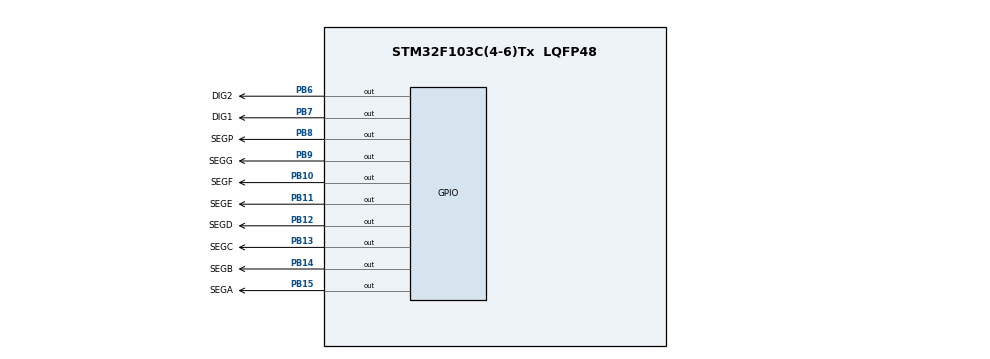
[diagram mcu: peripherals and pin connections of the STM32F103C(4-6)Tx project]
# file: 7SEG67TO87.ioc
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Mcu.Family=STM32F1
Mcu.Name=STM32F103C(4-6)Tx
Mcu.Package=LQFP48
NVIC.PriorityGroup=NVIC_PRIORITYGROUP_4
NVIC.TIM1_UP_IRQn=true\:0\:0\:false\:false\:true\:true\:true
NVIC.TIM2_IRQn=true\:0\:0\:false\:false\:true\:true\:true
PB10.GPIO_Label=SEGF
PB10.Signal=GPIO_Output
PB11.GPIO_Label=SEGE
PB11.Signal=GPIO_Output
PB12.GPIO_Label=SEGD
PB12.Signal=GPIO_Output
PB13.GPIO_Label=SEGC
PB13.Signal=GPIO_Output
PB14.GPIO_Label=SEGB
PB14.Signal=GPIO_Output
PB15.GPIO_Label=SEGA
PB15.Signal=GPIO_Output
PB6.GPIO_Label=DIG2
PB6.Signal=GPIO_Output
PB7.GPIO_Label=DIG1
PB7.Signal=GPIO_Output
PB8.GPIO_Label=SEGP
PB8.Signal=GPIO_Output
PB9.GPIO_Label=SEGG
PB9.Signal=GPIO_Output
ProjectManager.HeapSize=0x200
ProjectManager.StackSize=0x400
ProjectManager.TargetToolchain=MDK-ARM V5.32
RCC.APB1Freq_Value=8000000
RCC.APB2Freq_Value=8000000
TIM1.Period=30
TIM1.Prescaler=8000000/1000-1
TIM2.Period=1000
TIM2.Prescaler=8000000/1000-1
VP_SYS_VS_ND.Mode=No_Debug
VP_TIM1_VS_ClockSourceINT.Mode=Internal
VP_TIM2_VS_ClockSourceINT.Mode=Internal
board=custom

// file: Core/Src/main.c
/* USER CODE BEGIN Header */
/**
  ******************************************************************************
  * @file           : main.c
  * @brief          : Main program body
  ******************************************************************************
  * @attention
  *
  * Copyright (c) 2022 STMicroelectronics.
  * All rights reserved.
  *
  * This software is licensed under terms that can be found in the LICENSE file
  * in the root directory of this software component.
  * If no LICENSE file comes with this software, it is provided AS-IS.
  *
  ******************************************************************************
  */
/* USER CODE END Header */
#include "main.h"

/* USER CODE BEGIN PD */
#define DISPLAY_0 SEGA_Pin|SEGB_Pin|SEGC_Pin|SEGD_Pin|SEGE_Pin|SEGF_Pin
#define DISPLAY_1 SEGB_Pin|SEGC_Pin
#define DISPLAY_2 SEGA_Pin|SEGB_Pin|SEGD_Pin|SEGE_Pin|SEGG_Pin
#define DISPLAY_3 SEGA_Pin|SEGB_Pin|SEGC_Pin|SEGD_Pin|SEGG_Pin
#define DISPLAY_4 SEGB_Pin|SEGC_Pin|SEGF_Pin|SEGG_Pin
#define DISPLAY_5 SEGA_Pin|SEGC_Pin|SEGD_Pin|SEGF_Pin|SEGG_Pin
#define DISPLAY_6 SEGA_Pin|SEGC_Pin|SEGD_Pin|SEGE_Pin|SEGF_Pin|SEGG_Pin
#define DISPLAY_7 SEGA_Pin|SEGB_Pin|SEGC_Pin
#define DISPLAY_8 SEGA_Pin|SEGB_Pin|SEGC_Pin|SEGD_Pin|SEGE_Pin|SEGF_Pin|SEGG_Pin
#define DISPLAY_9 SEGA_Pin|SEGB_Pin|SEGC_Pin|SEGD_Pin|SEGF_Pin|SEGG_Pin
#define DISPLAY_ALL SEGA_Pin|SEGB_Pin|SEGC_Pin|SEGD_Pin|SEGE_Pin|SEGF_Pin|SEGG_Pin|SEGP_Pin
/* USER CODE END PD */

TIM_HandleTypeDef htim1;
TIM_HandleTypeDef htim2;

/* USER CODE BEGIN PV */
int CURRENT_NUM = 0;
int STOP_NUM = 12;

//uint16_t DISPLAY_0 = SEGA_Pin|SEGB_Pin|SEGC_Pin|SEGD_Pin|SEGE_Pin|SEGF_Pin;
//uint16_t DISPLAY_1 = SEGB_Pin|SEGC_Pin;
//uint16_t DISPLAY_2 = SEGA_Pin|SEGB_Pin|SEGD_Pin|SEGE_Pin|SEGG_Pin;
//uint16_t DISPLAY_3 = SEGA_Pin|SEGB_Pin|SEGC_Pin|SEGD_Pin|SEGG_Pin;
//uint16_t DISPLAY_4 = SEGB_Pin|SEGC_Pin|SEGF_Pin|SEGG_Pin;
//uint16_t DISPLAY_5 = SEGA_Pin|SEGC_Pin|SEGD_Pin|SEGF_Pin|SEGG_Pin;
//uint16_t DISPLAY_6 = SEGA_Pin|SEGC_Pin|SEGD_Pin|SEGE_Pin|SEGF_Pin|SEGG_Pin;
//uint16_t DISPLAY_7 = SEGA_Pin|SEGC_Pin|SEGC_Pin;
//uint16_t DISPLAY_8 = SEGA_Pin|SEGB_Pin|SEGC_Pin|SEGD_Pin|SEGE_Pin|SEGF_Pin|SEGG_Pin;
//uint16_t DISPLAY_9 = SEGA_Pin|SEGB_Pin|SEGC_Pin|SEGD_Pin|SEGF_Pin|SEGG_Pin;
//uint16_t DISPLAY_ALL = SEGA_Pin|SEGB_Pin|SEGC_Pin|SEGD_Pin|SEGE_Pin|SEGF_Pin|SEGG_Pin|SEGP_Pin;
uint16_t DISPLAY_LIST[]={
    DISPLAY_0,
    DISPLAY_1,
    DISPLAY_2,
    DISPLAY_3,
    DISPLAY_4,
    DISPLAY_5,
    DISPLAY_6,
    DISPLAY_7,
    DISPLAY_8,
    DISPLAY_9
};
/* USER CODE END PV */

void SystemClock_Config(void);
static void MX_GPIO_Init(void);
static void MX_TIM1_Init(void);
static void MX_TIM2_Init(void);
/* USER CODE BEGIN PFP */
int getShiwei(int num);
int getGewei(int num);

/* USER CODE END PFP */

int main(void)
{

  /* MCU Configuration--------------------------------------------------------*/

  /* Reset of all peripherals, Initializes the Flash interface and the Systick. */
  HAL_Init();

  /* Configure the system clock */
  SystemClock_Config();

  /* Initialize all configured peripherals */
  MX_GPIO_Init();
  MX_TIM1_Init();
  MX_TIM2_Init();
  /* USER CODE BEGIN 2 */
	HAL_TIM_Base_Start_IT(&htim1);
	HAL_TIM_Base_Start_IT(&htim2);

  /* USER CODE END 2 */

  /* Infinite loop */
  while (1)
  {

  }
}

void SystemClock_Config(void)
{
  RCC_OscInitTypeDef RCC_OscInitStruct = {0};
  RCC_ClkInitTypeDef RCC_ClkInitStruct = {0};

  /** Initializes the RCC Oscillators according to the specified parameters
  * in the RCC_OscInitTypeDef structure.
  */
  RCC_OscInitStruct.OscillatorType = RCC_OSCILLATORTYPE_HSI;
  RCC_OscInitStruct.HSIState = RCC_HSI_ON;
  RCC_OscInitStruct.HSICalibrationValue = RCC_HSICALIBRATION_DEFAULT;
  RCC_OscInitStruct.PLL.PLLState = RCC_PLL_NONE;
  if (HAL_RCC_OscConfig(&RCC_OscInitStruct) != HAL_OK)
  {
    Error_Handler();
  }
  /** Initializes the CPU, AHB and APB buses clocks
  */
  RCC_ClkInitStruct.ClockType = RCC_CLOCKTYPE_HCLK|RCC_CLOCKTYPE_SYSCLK
                              |RCC_CLOCKTYPE_PCLK1|RCC_CLOCKTYPE_PCLK2;
  RCC_ClkInitStruct.SYSCLKSource = RCC_SYSCLKSOURCE_HSI;
  RCC_ClkInitStruct.AHBCLKDivider = RCC_SYSCLK_DIV1;
  RCC_ClkInitStruct.APB1CLKDivider = RCC_HCLK_DIV1;
  RCC_ClkInitStruct.APB2CLKDivider = RCC_HCLK_DIV1;

  if (HAL_RCC_ClockConfig(&RCC_ClkInitStruct, FLASH_LATENCY_0) != HAL_OK)
  {
    Error_Handler();
  }
}

static void MX_TIM1_Init(void)
{

  TIM_ClockConfigTypeDef sClockSourceConfig = {0};
  TIM_MasterConfigTypeDef sMasterConfig = {0};

  htim1.Instance = TIM1;
  htim1.Init.Prescaler = 8000000/1000-1;
  htim1.Init.CounterMode = TIM_COUNTERMODE_UP;
  htim1.Init.Period = 30;
  htim1.Init.ClockDivision = TIM_CLOCKDIVISION_DIV1;
  htim1.Init.RepetitionCounter = 0;
  htim1.Init.AutoReloadPreload = TIM_AUTORELOAD_PRELOAD_DISABLE;
  if (HAL_TIM_Base_Init(&htim1) != HAL_OK)
  {
    Error_Handler();
  }
  sClockSourceConfig.ClockSource = TIM_CLOCKSOURCE_INTERNAL;
  if (HAL_TIM_ConfigClockSource(&htim1, &sClockSourceConfig) != HAL_OK)
  {
    Error_Handler();
  }
  sMasterConfig.MasterOutputTrigger = TIM_TRGO_RESET;
  sMasterConfig.MasterSlaveMode = TIM_MASTERSLAVEMODE_DISABLE;
  if (HAL_TIMEx_MasterConfigSynchronization(&htim1, &sMasterConfig) != HAL_OK)
  {
    Error_Handler();
  }

}

static void MX_TIM2_Init(void)
{

  TIM_ClockConfigTypeDef sClockSourceConfig = {0};
  TIM_MasterConfigTypeDef sMasterConfig = {0};

  htim2.Instance = TIM2;
  htim2.Init.Prescaler = 8000000/1000-1;
  htim2.Init.CounterMode = TIM_COUNTERMODE_UP;
  htim2.Init.Period = 1000;
  htim2.Init.ClockDivision = TIM_CLOCKDIVISION_DIV1;
  htim2.Init.AutoReloadPreload = TIM_AUTORELOAD_PRELOAD_DISABLE;
  if (HAL_TIM_Base_Init(&htim2) != HAL_OK)
  {
    Error_Handler();
  }
  sClockSourceConfig.ClockSource = TIM_CLOCKSOURCE_INTERNAL;
  if (HAL_TIM_ConfigClockSource(&htim2, &sClockSourceConfig) != HAL_OK)
  {
    Error_Handler();
  }
  sMasterConfig.MasterOutputTrigger = TIM_TRGO_RESET;
  sMasterConfig.MasterSlaveMode = TIM_MASTERSLAVEMODE_DISABLE;
  if (HAL_TIMEx_MasterConfigSynchronization(&htim2, &sMasterConfig) != HAL_OK)
  {
    Error_Handler();
  }

}

static void MX_GPIO_Init(void)
{
  GPIO_InitTypeDef GPIO_InitStruct = {0};

  /* GPIO Ports Clock Enable */
  __HAL_RCC_GPIOB_CLK_ENABLE();

  /*Configure GPIO pin Output Level */
  HAL_GPIO_WritePin(GPIOB, SEGF_Pin|SEGE_Pin|SEGD_Pin|SEGC_Pin
                          |SEGB_Pin|SEGA_Pin|DIG2_Pin|DIG1_Pin
                          |SEGP_Pin|SEGG_Pin, GPIO_PIN_RESET);

  /*Configure GPIO pins : SEGF_Pin SEGE_Pin SEGD_Pin SEGC_Pin
                           SEGB_Pin SEGA_Pin DIG2_Pin DIG1_Pin
                           SEGP_Pin SEGG_Pin */
  GPIO_InitStruct.Pin = SEGF_Pin|SEGE_Pin|SEGD_Pin|SEGC_Pin
                          |SEGB_Pin|SEGA_Pin|DIG2_Pin|DIG1_Pin
                          |SEGP_Pin|SEGG_Pin;
  GPIO_InitStruct.Mode = GPIO_MODE_OUTPUT_PP;
  GPIO_InitStruct.Pull = GPIO_NOPULL;
  GPIO_InitStruct.Speed = GPIO_SPEED_FREQ_LOW;
  HAL_GPIO_Init(GPIOB, &GPIO_InitStruct);

}

/* USER CODE BEGIN 4 */
int getShiwei(int num){
	return num/10;
}
int getGewei(int num){
	return num%10;
}
void HAL_TIM_PeriodElapsedCallback(TIM_HandleTypeDef *htim){
	if(htim==&htim1){
		int shiwei = getShiwei(CURRENT_NUM);
		int gewei = getGewei(CURRENT_NUM);
		// 从显示效果可以看出DIG1是十位，DIG2是个�?
		if(HAL_GPIO_ReadPin(DIG1_GPIO_Port,DIG1_Pin)==GPIO_PIN_RESET){
			// 第一位是关闭的，则关闭第二位的显示，�?启第�?位的显示
			HAL_GPIO_WritePin(DIG2_GPIO_Port, DIG2_Pin, GPIO_PIN_RESET);
			HAL_GPIO_WritePin(SEGA_GPIO_Port,DISPLAY_ALL,GPIO_PIN_SET);
			HAL_GPIO_WritePin(SEGA_GPIO_Port,DISPLAY_LIST[shiwei],GPIO_PIN_RESET);
			HAL_GPIO_WritePin(DIG1_GPIO_Port, DIG1_Pin, GPIO_PIN_SET);
		}else{
			// 第一位是�?启的，则关闭第一位的显示，开启第二位的显�?
			HAL_GPIO_WritePin(DIG1_GPIO_Port, DIG1_Pin, GPIO_PIN_RESET);
			HAL_GPIO_WritePin(SEGA_GPIO_Port,DISPLAY_ALL,GPIO_PIN_SET);
			HAL_GPIO_WritePin(SEGA_GPIO_Port,DISPLAY_LIST[gewei],GPIO_PIN_RESET);
			HAL_GPIO_WritePin(DIG2_GPIO_Port, DIG2_Pin, GPIO_PIN_SET);

		}
	}
	if(htim==&htim2){
		if(CURRENT_NUM<STOP_NUM){
			CURRENT_NUM++;
		}
	}

}

/* USER CODE END 4 */

void Error_Handler(void)
{
  __disable_irq();
  while (1)
  {
  }
}
